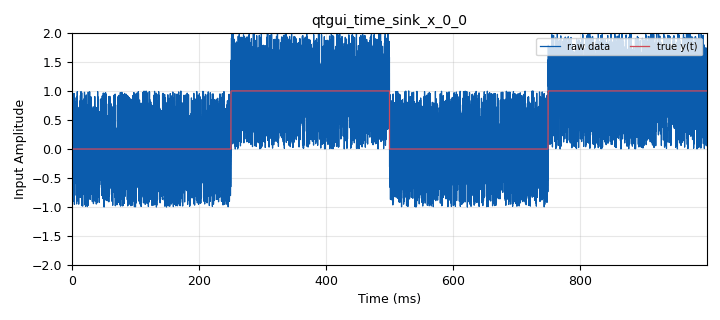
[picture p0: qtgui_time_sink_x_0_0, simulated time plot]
<?xml version='1.0' encoding='utf-8'?>
<?grc format='1' created='3.7.11'?>
<flow_graph>
<block>
<key>options</key>
<param><key>id</key><value>B3_ErrorPropagation</value></param>
<param><key>description</key><value>computes low-pass filter and decimation including computiation/propagation of error estimates. Algorithm ID selects filter implementation (0: FIR-LP, 1: FIR-BP, 2: FIR-CUSTOM, 3: FIR-CUSTOM_FFT, 4: IIR_LP, 5: IIR_HP, 6: IIR-CUSTOM)</value></param>
<param><key>generate_options</key><value>qt_gui</value></param>
<param><key>title</key><value>B3 FEC-based data aggregation according to Section 3.3.2</value></param>
</block>
<block>
<key>variable</key>
<param><key>id</key><value>decimation</value></param>
<param><key>value</key><value>100</value></param>
</block>
<block>
<key>variable</key>
<param><key>id</key><value>filter_taps_a</value></param>
<param><key>value</key><value>1.0, -3.9692103976755453, 5.9090978836797685, -3.9105406695954064, 0.9706534726794167</value></param>
</block>
<block>
<key>variable</key>
<param><key>id</key><value>filter_taps_b</value></param>
<param><key>value</key><value>0.0009959859297622798, -0.003939740084930013, 0.005887765960493963, -0.003939740084930017, 0.0009959859297622804</value></param>
</block>
<block>
<key>variable</key>
<param><key>id</key><value>fir_LP</value></param>
<param><key>value</key><value> firdes.low_pass(1, samp_rate, freq_max, freq_transition, firdes.WIN_HAMMING, 6.76)</value></param>
</block>
<block>
<key>variable_qtgui_range</key>
<param><key>id</key><value>freq_max</value></param>
<param><key>value</key><value>100</value></param>
<param><key>gui_hint</key><value>5,0,1,2</value></param>
<param><key>label</key><value>Max Frequency [Hz]</value></param>
<param><key>orient</key><value>Qt.Horizontal</value></param>
<param><key>start</key><value>1</value></param>
<param><key>step</key><value>1</value></param>
<param><key>stop</key><value>1000</value></param>
</block>
<block>
<key>variable_qtgui_range</key>
<param><key>id</key><value>freq_min</value></param>
<param><key>value</key><value>2</value></param>
<param><key>gui_hint</key><value>4,0,1,2</value></param>
<param><key>label</key><value>Min Frequency [Hz]</value></param>
<param><key>orient</key><value>Qt.Horizontal</value></param>
<param><key>start</key><value>1</value></param>
<param><key>step</key><value>1</value></param>
<param><key>stop</key><value>1000</value></param>
</block>
<block>
<key>variable_qtgui_range</key>
<param><key>id</key><value>freq_transition</value></param>
<param><key>value</key><value>100</value></param>
<param><key>gui_hint</key><value>4,2,1,2</value></param>
<param><key>label</key><value>Transition Width [Hz]</value></param>
<param><key>orient</key><value>Qt.Horizontal</value></param>
<param><key>start</key><value>10</value></param>
<param><key>step</key><value>10</value></param>
<param><key>stop</key><value>1000</value></param>
</block>
<block>
<key>variable_qtgui_range</key>
<param><key>id</key><value>input_noise_est</value></param>
<param><key>value</key><value>0.6</value></param>
<param><key>gui_hint</key><value>5,2,1,1</value></param>
<param><key>label</key><value>Input Noise Estimate</value></param>
<param><key>orient</key><value>Qt.Horizontal</value></param>
<param><key>start</key><value>0</value></param>
<param><key>step</key><value>0.1</value></param>
<param><key>stop</key><value>10</value></param>
<param><key>widget</key><value>counter</value></param>
</block>
<block>
<key>variable_qtgui_range</key>
<param><key>id</key><value>out_delay</value></param>
<param><key>value</key><value>2</value></param>
<param><key>gui_hint</key><value>5,3,1,1</value></param>
<param><key>label</key><value>'Out' Path Delay</value></param>
<param><key>orient</key><value>Qt.Horizontal</value></param>
<param><key>start</key><value>-2*samp_rate</value></param>
<param><key>step</key><value>10</value></param>
<param><key>stop</key><value>2*samp_rate</value></param>
<param><key>rangeType</key><value>int</value></param>
<param><key>widget</key><value>counter</value></param>
</block>
<block>
<key>variable</key>
<param><key>id</key><value>samp_rate</value></param>
<param><key>value</key><value>8000</value></param>
</block>
<block>
<key>qtgui_time_sink_x</key>
<param><key>id</key><value>Aggregation_Sample_Example</value></param>
<param><key>entags</key><value>False</value></param>
<param><key>gui_hint</key><value>2,0,2,4</value></param>
<param><key>color1</key><value>"blue"</value></param>
<param><key>label1</key><value>est: y(t) + sigma(t) (ref)</value></param>
<param><key>style1</key><value>2</value></param>
<param><key>color2</key><value>"blue"</value></param>
<param><key>label2</key><value>est: y(t) (ref)</value></param>
<param><key>width2</key><value>2</value></param>
<param><key>color3</key><value>"blue"</value></param>
<param><key>label3</key><value>est: y(t) - sigma(t) (ref)</value></param>
<param><key>style3</key><value>2</value></param>
<param><key>color4</key><value>"red"</value></param>
<param><key>label4</key><value>est: y(t) + sigma(t) (test)</value></param>
<param><key>alpha5</key><value>1</value></param>
<param><key>color5</key><value>"red"</value></param>
<param><key>label5</key><value>est: y(t) (test)</value></param>
<param><key>width5</key><value>2</value></param>
<param><key>color6</key><value>"red"</value></param>
<param><key>label6</key><value>est: y(t) - sigma(t) (test)</value></param>
<param><key>color7</key><value>"dark green"</value></param>
<param><key>label7</key><value>true y(t) (ref)</value></param>
<param><key>width7</key><value>2</value></param>
<param><key>nconnections</key><value>7</value></param>
<param><key>size</key><value>samp_rate/decimation</value></param>
<param><key>srate</key><value>samp_rate/decimation</value></param>
<param><key>type</key><value>float</value></param>
<param><key>update_time</key><value>0.1</value></param>
<param><key>ylabel</key><value>Filtered Amplitude</value></param>
<param><key>yunit</key><value>"a.u."</value></param>
<param><key>ymax</key><value>2</value></param>
<param><key>ymin</key><value>-2</value></param>
</block>
<block>
<key>analog_const_source_x</key>
<param><key>id</key><value>analog_const_source_x_0</value></param>
<param><key>const</key><value>input_noise_est</value></param>
<param><key>type</key><value>float</value></param>
</block>
<block>
<key>analog_noise_source_x</key>
<param><key>id</key><value>analog_noise_source_x_0</value></param>
<param><key>amp</key><value>1</value></param>
<param><key>noise_type</key><value>analog.GR_UNIFORM</value></param>
<param><key>type</key><value>float</value></param>
<param><key>seed</key><value>0</value></param>
</block>
<block>
<key>analog_sig_source_x</key>
<param><key>id</key><value>analog_sig_source_x_0</value></param>
<param><key>amp</key><value>1</value></param>
<param><key>freq</key><value>2</value></param>
<param><key>offset</key><value>0</value></param>
<param><key>type</key><value>float</value></param>
<param><key>samp_rate</key><value>samp_rate</value></param>
<param><key>waveform</key><value>analog.GR_SQR_WAVE</value></param>
</block>
<block>
<key>block_aggregation</key>
<param><key>id</key><value>block_aggregation_0</value></param>
<param><key>algorithm_ID</key><value>4</value></param>
<param><key>decimation1</key><value>decimation</value></param>
<param><key>delay</key><value>out_delay</value></param>
<param><key>fir_Taps</key><value>fir_LP</value></param>
<param><key>iir_feedback_Taps</key><value>filter_taps_a</value></param>
<param><key>iir_forward_Taps</key><value>filter_taps_b</value></param>
<param><key>freq_min</key><value>freq_min</value></param>
<param><key>samp_rate</key><value>samp_rate</value></param>
<param><key>freq_transition</key><value>freq_transition</value></param>
<param><key>freq_max</key><value>freq_max</value></param>
</block>
<block>
<key>block_error_band</key>
<param><key>id</key><value>block_error_band_0</value></param>
</block>
<block>
<key>block_error_band</key>
<param><key>id</key><value>block_error_band_0_0</value></param>
</block>
<block>
<key>blocks_add_xx</key>
<param><key>id</key><value>blocks_add_xx_0</value></param>
<param><key>type</key><value>float</value></param>
</block>
<block>
<key>blocks_delay</key>
<param><key>id</key><value>blocks_delay_0</value></param>
<param><key>delay</key><value>1000</value></param>
<param><key>type</key><value>float</value></param>
</block>
<block>
<key>blocks_keep_one_in_n</key>
<param><key>id</key><value>blocks_keep_one_in_n_0</value></param>
<param><key>n</key><value>decimation</value></param>
<param><key>type</key><value>float</value></param>
</block>
<block>
<key>blocks_throttle</key>
<param><key>id</key><value>blocks_throttle_0</value></param>
<param><key>samples_per_second</key><value>samp_rate</value></param>
<param><key>type</key><value>float</value></param>
</block>
<block>
<key>digitizers_block_aggregation</key>
<param><key>id</key><value>digitizers_block_aggregation_0</value></param>
<param><key>alg_id</key><value>4</value></param>
<param><key>decim</key><value>decimation</value></param>
<param><key>delay</key><value>out_delay</value></param>
<param><key>fir_taps</key><value>fir_LP</value></param>
<param><key>fb_user_taps</key><value>filter_taps_a</value></param>
<param><key>fw_user_taps</key><value>filter_taps_b</value></param>
<param><key>low_freq</key><value>freq_min</value></param>
<param><key>samp_rate</key><value>samp_rate</value></param>
<param><key>tr_width</key><value>freq_transition</value></param>
<param><key>up_freq</key><value>freq_max</value></param>
</block>
<block>
<key>qtgui_time_sink_x</key>
<param><key>id</key><value>qtgui_time_sink_x_0_0</value></param>
<param><key>entags</key><value>False</value></param>
<param><key>gui_hint</key><value>0,0,2,4</value></param>
<param><key>color1</key><value>"blue"</value></param>
<param><key>label1</key><value>raw data</value></param>
<param><key>style1</key><value>2</value></param>
<param><key>color2</key><value>"green"</value></param>
<param><key>label2</key><value>true y(t)</value></param>
<param><key>width2</key><value>2</value></param>
<param><key>nconnections</key><value>2</value></param>
<param><key>size</key><value>samp_rate</value></param>
<param><key>srate</key><value>samp_rate</value></param>
<param><key>type</key><value>float</value></param>
<param><key>update_time</key><value>0.1</value></param>
<param><key>ylabel</key><value>Input Amplitude</value></param>
<param><key>ymax</key><value>2</value></param>
<param><key>ymin</key><value>-2</value></param>
</block>
<connection><source_block_id>analog_const_source_x_0</source_block_id><sink_block_id>block_aggregation_0</sink_block_id><source_key>0</source_key><sink_key>1</sink_key></connection>
<connection><source_block_id>analog_const_source_x_0</source_block_id><sink_block_id>digitizers_block_aggregation_0</sink_block_id><source_key>0</source_key><sink_key>1</sink_key></connection>
<connection><source_block_id>analog_noise_source_x_0</source_block_id><sink_block_id>blocks_add_xx_0</sink_block_id><source_key>0</source_key><sink_key>0</sink_key></connection>
<connection><source_block_id>analog_sig_source_x_0</source_block_id><sink_block_id>blocks_add_xx_0</sink_block_id><source_key>0</source_key><sink_key>1</sink_key></connection>
<connection><source_block_id>analog_sig_source_x_0</source_block_id><sink_block_id>blocks_keep_one_in_n_0</sink_block_id><source_key>0</source_key><sink_key>0</sink_key></connection>
<connection><source_block_id>analog_sig_source_x_0</source_block_id><sink_block_id>qtgui_time_sink_x_0_0</sink_block_id><source_key>0</source_key><sink_key>1</sink_key></connection>
<connection><source_block_id>block_aggregation_0</source_block_id><sink_block_id>block_error_band_0_0</sink_block_id><source_key>0</source_key><sink_key>0</sink_key></connection>
<connection><source_block_id>block_aggregation_0</source_block_id><sink_block_id>block_error_band_0_0</sink_block_id><source_key>1</source_key><sink_key>1</sink_key></connection>
<connection><source_block_id>block_error_band_0</source_block_id><sink_block_id>Aggregation_Sample_Example</sink_block_id><source_key>0</source_key><sink_key>3</sink_key></connection>
<connection><source_block_id>block_error_band_0</source_block_id><sink_block_id>Aggregation_Sample_Example</sink_block_id><source_key>2</source_key><sink_key>5</sink_key></connection>
<connection><source_block_id>block_error_band_0</source_block_id><sink_block_id>Aggregation_Sample_Example</sink_block_id><source_key>1</source_key><sink_key>4</sink_key></connection>
<connection><source_block_id>block_error_band_0_0</source_block_id><sink_block_id>Aggregation_Sample_Example</sink_block_id><source_key>0</source_key><sink_key>0</sink_key></connection>
<connection><source_block_id>block_error_band_0_0</source_block_id><sink_block_id>Aggregation_Sample_Example</sink_block_id><source_key>2</source_key><sink_key>2</sink_key></connection>
<connection><source_block_id>block_error_band_0_0</source_block_id><sink_block_id>Aggregation_Sample_Example</sink_block_id><source_key>1</source_key><sink_key>1</sink_key></connection>
<connection><source_block_id>blocks_add_xx_0</source_block_id><sink_block_id>blocks_delay_0</sink_block_id><source_key>0</source_key><sink_key>0</sink_key></connection>
<connection><source_block_id>blocks_add_xx_0</source_block_id><sink_block_id>blocks_throttle_0</sink_block_id><source_key>0</source_key><sink_key>0</sink_key></connection>
<connection><source_block_id>blocks_delay_0</source_block_id><sink_block_id>block_aggregation_0</sink_block_id><source_key>0</source_key><sink_key>0</sink_key></connection>
<connection><source_block_id>blocks_delay_0</source_block_id><sink_block_id>digitizers_block_aggregation_0</sink_block_id><source_key>0</source_key><sink_key>0</sink_key></connection>
<connection><source_block_id>blocks_keep_one_in_n_0</source_block_id><sink_block_id>Aggregation_Sample_Example</sink_block_id><source_key>0</source_key><sink_key>6</sink_key></connection>
<connection><source_block_id>blocks_throttle_0</source_block_id><sink_block_id>qtgui_time_sink_x_0_0</sink_block_id><source_key>0</source_key><sink_key>0</sink_key></connection>
<connection><source_block_id>digitizers_block_aggregation_0</source_block_id><sink_block_id>block_error_band_0</sink_block_id><source_key>0</source_key><sink_key>0</sink_key></connection>
<connection><source_block_id>digitizers_block_aggregation_0</source_block_id><sink_block_id>block_error_band_0</sink_block_id><source_key>1</source_key><sink_key>1</sink_key></connection>
</flow_graph>
